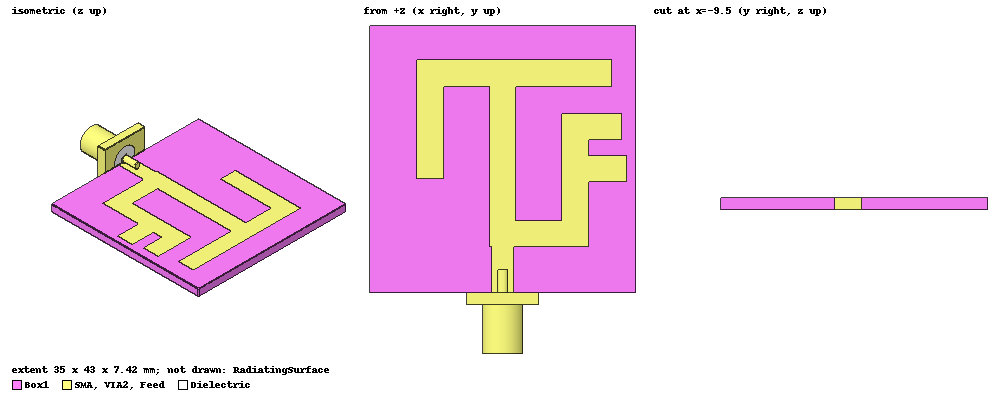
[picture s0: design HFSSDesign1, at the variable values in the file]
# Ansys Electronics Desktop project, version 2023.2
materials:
  vacuum: permittivity=1
  FR4_epoxy: permittivity=4.4 dielectric_loss_tangent=0.02
  Teflon (tm): permittivity=2.1 dielectric_loss_tangent=0.001
  brass: conductivity=15000000
  copper: permeability=0.999991 conductivity=58000000

design HFSSDesign1 (HFSS, HFSS Modal Network, model units mm)
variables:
  SubLen = 35mm
  SubHi = 1.6mm
  SubWidth = 35mm
  PIFA1_SL = 5mm
  FeedWidth = 3mm
  PIFA1_FL = 4.37mm
  FeedLen = 6mm
  PIFA1_OFF = 6mm
  PIFA1_LEN = 14mm
  PIFA1_width = 3.5mm
  PIFA2_SEP = 6mm
  PIFA2_SL = 12mm
  XX = 0mm
  PIFA2_RAD = 16mm
  PIFA2_Width = 3.5mm
  PIFA1_SEP = 2mm
  PIFA2_FL = 21mm
  ViaR1 = 0.5*PIFA1_width
  ViaR2 = 0.5*PIFA2_Width
  h = 1.6mm
  Inner_length = 3mm
  SRRinnerRad = 0.5mm
  StubLen = 5.8mm
  StubWidth = 15mm
  SRRpos = 3mm
  SRRslot = 0.5mm
  GndLen = 20mm
  SRRThick = 0.5mm
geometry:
  Box1 [FR4_epoxy] = box(corner=(-0.5*SubWidth, 0mm, 0mm), size=(SubWidth, SubLen, SubHi))
  Feed = rectangle(corner=(-0.5*FeedWidth, 0mm, SubHi), x_size=FeedWidth, y_size=FeedLen)
  IF1_F = rectangle(corner=(0.5*PIFA2_Width-XX+PIFA1_OFF+PIFA1_width, FeedLen+PIFA1_LEN, SubHi), x_size=PIFA1_FL, y_size=PIFA1_width)
  IFOFF1 = rectangle(corner=(0.5*PIFA2_width, FeedLen, SubHi), x_size=PIFA1_OFF+PIFA1_width, y_size=PIFA1_width)
  IFSL1 = rectangle(corner=(0.5*PIFA2_Width-XX+PIFA1_OFF+PIFA1_width, FeedLen+PIFA1_LEN-PIFA1_SEP-PIFA1_width, SubHi), x_size=PIFA1_SL, y_size=PIFA1_width)
  INFRad1 = rectangle(corner=(0.5*PIFA2_Width-XX+PIFA1_OFF, FeedLen+PIFA1_width, SubHi), x_size=PIFA1_width, y_size=PIFA1_LEN)
  IF1_F.unite(IFOFF1, IFSL1, INFRad1)
  IF2_Feed = rectangle(corner=(-0.5*PIFA2_Width, FeedLen, SubHi), x_size=PIFA2_Width, y_size=PIFA2_FL)
  IF2_Mat = rectangle(corner=(-0.5*PIFA2_Width-PIFA2_Width-PIFA2_SEP, FeedLen+PIFA2_FL, SubHi), x_size=PIFA2_SEP+PIFA2_Width, y_size=PIFA2_Width)
  IF2_Rad = rectangle(corner=(-0.5*PIFA2_Width, FeedLen+PIFA2_FL, SubHi), x_size=PIFA2_RAD, y_size=PIFA2_Width)
  IF2_Sho = rectangle(corner=(-0.5*PIFA2_Width-PIFA2_SEP-PIFA2_Width, FeedLen+PIFA2_FL-PIFA2_SL, SubHi), x_size=PIFA2_Width, y_size=PIFA2_SL)
  IF2_Feed.unite(IF2_Mat, IF2_Rad, IF2_Sho)
  Feed.unite(IF1_F, IF2_Feed)
  VIA1 [copper] = cylinder(axis=Z, base_centre=(0.5*FeedWidth-XX+PIFA1_OFF+PIFA1_width+PIFA1_SL-ViaR1, FeedLen+PIFA1_LEN-PIFA1_width-PIFA1_SEP+ViaR1, 0), radius=1.4142136mm, height=SubHi)
  VIA2 [copper] = cylinder(axis=Z, base_centre=(-PIFA2_Width-PIFA2_SEP, FeedLen+PIFA2_FL-PIFA2_SL+0.5*PIFA2_Width, 0mm), radius=ViaR2, height=SubHi)
  Dielectric [Teflon (tm)] = cylinder(axis=Y, base_centre=(0mm, 0mm, h+0.63mm), radius=2.43mm, height=-6mm)
  Dielectric_1 = Dielectric.copy()
  Inner = cylinder(axis=Y, base_centre=(0, Inner_length, h+0.63mm), radius=0.63mm, height=-6mm-Inner_length)
  Inner_1 = Inner.copy()
  Dielectric.subtract(Inner_1)
  Dielectric_2 = Dielectric.copy()
  SMA [brass] = box(corner=(-4.76mm, 0mm, -1.08mm), size=(9.52mm, -1.64mm, 7.42mm))
  Inner_2 = Inner.copy()
  SMA.subtract(Dielectric_2, Inner_2)
  Box3 = box(corner=(4.76mm, 0mm, -1.08mm), size=(-1.02mm, 5mm, 1.08mm))
  Box2 = box(corner=(-4.76mm, 0mm, -1.08mm), size=(1.02mm, 5mm, 1.08mm))
  SMA.unite(Box3, Box2)
  Outer = cylinder(axis=Y, base_centre=(0mm, 0mm, h+0.63mm), radius=2.61mm, height=-8mm)
  Outer.subtract(Dielectric_1)
  Outer1 = cylinder(axis=Y, base_centre=(0mm, 0mm, h+0.63mm), radius=2.43mm, height=-8mm)
  Dielectric1 = cylinder(axis=Y, base_centre=(0mm, 0mm, h+0.63mm), radius=2.43mm, height=-6mm)
  Dielectric_3 = Dielectric1.copy()
  Outer1.subtract(Dielectric_3)
  Outer.subtract(Outer1)
  SMA.unite(Outer, Inner)
  Dielectric1.delete()
  RadiatingSurface [vacuum] = region(absolute_offset=21.276596mm on all sides)
  SRRouter2 = circle(normal=Z, centre=(0mm, GndLen+SRRpos, 0mm), radius=SRRslot+SRRThick+SRRinnerRad+SRRThick)
  SRRinner2 = circle(normal=Z, centre=(0mm, GndLen+SRRpos, 0mm), radius=SRRslot+SRRThick+SRRinnerRad)
  SRRouter2.subtract(SRRinner2)
  SRRouter = circle(normal=Z, centre=(0mm, GndLen+SRRpos, 0mm), radius=SRRinnerRad+SRRThick)
  SRRinner = circle(normal=Z, centre=(0mm, GndLen+SRRpos, 0mm), radius=SRRinnerRad)
  SRRouter.subtract(SRRinner)
  SRRouter2.unite(SRRouter)
  Gnd = rectangle(corner=(-0.5*SubWidth, 0mm, 0mm), x_size=SubWidth, y_size=GndLen)
  SRRouter2.unite(Gnd)
  SRRouter3 = circle(normal=Z, centre=(0mm, GndLen+SRRpos, 0mm), radius=2*SRRslot+SRRThick+SRRinnerRad+2*SRRThick)
  SRRinner3 = circle(normal=Z, centre=(0mm, GndLen+SRRpos, 0mm), radius=2*SRRslot+SRRThick+SRRinnerRad+SRRThick)
  SRRouter3.subtract(SRRinner3)
  Rectangle2 = rectangle(corner=(-0.5*SubWidth, GndLen, 0mm), x_size=StubWidth, y_size=StubLen)
  SRRouter2.unite(SRRouter3, Rectangle2)
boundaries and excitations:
  FiniteCond2: Finite Conductivity Objects=Feed Conductivity=58000000 Permeability=1 IsInternal
  SMA: Finite Conductivity Objects=SMA Conductivity=15000000 Permeability=1 IsInternal
  Open1: Radiation Objects=RadiatingSurface
  FiniteCond3: Finite Conductivity Objects=SRRouter2 Conductivity=58000000 Permeability=1 IsInternal
  1: Lumped Port Faces=Dielectric.face(-y end) LumpedPortType=Modal Modes{Mode1{IntLine{(0, -6, -0.2) -> (0, -6, 1.6)} CharImp=Zpi RenormImp=50ohm}} Impedance=50ohm
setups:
  Setup1: HfssDriven Frequency=4.7GHz MaxDeltaS=0.02 MaximumPasses=10 MinimumPasses=1 MinimumConvergedPasses=1 PercentRefinement=30 BasisOrder=1 PortAccuracy=2 DrivenSolverType="Direct Solver"
    sweep Sweep: 2GHz to 8GHz step 0.01GHz; Type=Discrete SaveFields
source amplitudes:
  1:1: 1W 0deg
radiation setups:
  Infinite Sphere1: Infinite Sphere Theta=0deg..360deg step 2deg Phi=-180deg..180deg step 2deg
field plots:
  Mag_Jsurf1: Jsurf over Feed.face(at (2.5, 15.25, 1.6)) SRRouter2.face(all 3) on Setup1 : Sweep at Freq=5.8GHz Phase=0deg
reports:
  S Parameter Plot 1: dB(S(1,1)) vs Freq on Setup1 : Sweep; markers m1 at 2.4GHz, m2 at 3.68GHz, m3 at 4.71GHz, m4 at 5.8GHz, MY1 at y=-9.94737, MY2 at y=-6
  Antenna Params Plot 2: dB(PeakRealizedGain) vs Freq on Setup1 : Sweep; markers MX1 at x=2.406181e+09, MX2 at x=3.7041943e+09, MX3 at x=4.7019868e+09, MX4 at x=5.8013245e+09
  VSWR Plot 1: VSWR(1) vs Freq on Setup1 : Sweep; markers m1 at 2.39GHz, m2 at 3.68GHz, m3 at 4.71GHz, m4 at 5.8GHz
  Z Parameter Plot 1: re(Z(1,1)), im(Z(1,1)) vs Freq on Setup1 : Sweep; markers MX1 at x=2.4005935e+09, MX2 at x=3.7002967e+09, MX3 at x=4.7106825e+09, MX4 at x=5.8011869e+09
  Gain Plot 1: dB(GainTotal) vs Theta on Setup1 : Sweep, Infinite Sphere1 [Phi=0deg,90deg Freq=2.4GHz]
  Gain Plot 2: dB(GainTotal) vs Theta on Setup1 : Sweep, Infinite Sphere1 [Phi=0deg,90deg Freq=3.7GHz]
  Gain Plot 3: dB(GainTotal) vs Theta on Setup1 : Sweep, Infinite Sphere1 [Phi=0deg,90deg Freq=4.7GHz]
  Gain Plot 4: dB(GainTotal) vs Theta on Setup1 : Sweep, Infinite Sphere1 [Phi=0deg,90deg Freq=5.8GHz]
  Realized Gain Plot 1: dB(RealizedGainTotal) vs Theta on Setup1 : LastAdaptive, Infinite Sphere1 [Phi=all Freq=4.7GHz]
  Realized Gain Plot 2: dB(RealizedGainTotal) vs Theta on Setup1 : Sweep, Infinite Sphere1 [Phi=0deg,90deg Freq=4.7GHz]
  Gain Plot 5: GainTotal vs Theta on Setup1 : Sweep, Infinite Sphere1 [Phi=0deg,90deg Freq=4.7GHz]
  Realized Gain Plot 3: RealizedGainTotal vs Theta on Setup1 : Sweep, Infinite Sphere1 [Phi=0deg,90deg Freq=4.7GHz]
  Gain Plot 6: dB(GainTotal) vs Theta on Setup1 : Sweep, Infinite Sphere1 [Phi=0deg,90deg Freq=5.8GHz]
  Gain Plot 7: dB(GainTotal) vs Theta on Setup1 : Sweep, Infinite Sphere1 [Phi=0deg,90deg Freq=4.71GHz]
  Gain Plot 8: dB(GainTotal) vs Theta on Setup1 : Sweep, Infinite Sphere1 [Phi=0deg,90deg Freq=3.68GHz]
  Gain Plot 9: dB(GainTotal) vs Theta on Setup1 : Sweep, Infinite Sphere1 [Phi=0deg,90deg Freq=2.4GHz]
  Gain Plot 10: abs(GainTotal) vs Theta on Setup1 : Sweep, Infinite Sphere1 [Phi=0deg,90deg Freq=5.8GHz]
  Gain Plot 11: normalize(GainTotal) vs Theta on Setup1 : Sweep, Infinite Sphere1 [Phi=0deg,90deg Freq=5.8GHz]
  Plot 1: dB(normalize(GainTotal)) vs Theta on Setup1 : Sweep, Infinite Sphere1 [Phi=0deg,90deg Freq=5.8GHz]
  Plot 1: dB(normalize(GainTotal)) vs Theta on Setup1 : Sweep, Infinite Sphere1 [Phi=0deg,90deg Freq=4.71GHz]
  Plot 1: dB(normalize(GainTotal)) vs Theta on Setup1 : Sweep, Infinite Sphere1 [Phi=0deg,90deg Freq=3.86GHz]
  Plot 1: dB(normalize(GainTotal)) vs Theta on Setup1 : Sweep, Infinite Sphere1 [Phi=0deg,90deg Freq=3.68GHz]
  Plot 1: dB(normalize(GainTotal)) vs Theta on Setup1 : Sweep, Infinite Sphere1 [Phi=0deg,90deg Freq=2.4GHz]
  Gain Plot 12: dB(GainTotal) vs Phi, Theta on Setup1 : Sweep, Infinite Sphere1 [Freq=5.8GHz]
  Directivity Plot 1: dB(DirTotal) vs Phi, Theta on Setup1 : Sweep, Infinite Sphere1 [Freq=5.8GHz]
  Directivity Plot 2: dB(DirTotal) vs Phi, Theta on Setup1 : Sweep, Infinite Sphere1 [Freq=3.68GHz]
  Directivity Plot 3: dB(DirTotal) vs Phi, Theta on Setup1 : Sweep, Infinite Sphere1 [Freq=5.8GHz]
  Directivity Plot 4: dB(DirTotal) vs Phi, Theta on Setup1 : Sweep, Infinite Sphere1 [Freq=4.71GHz]
  Directivity Plot 5: dB(DirTotal) vs Phi, Theta on Setup1 : Sweep, Infinite Sphere1 [Freq=2.4GHz]
  Axial Ratio Plot 1: mag(AxialRatioValue) vs Theta on Setup1 : LastAdaptive, Infinite Sphere1 [Phi=all Freq=4.7GHz]
  Axial Ratio Plot 2: mag(AxialRatioValue) vs Freq on Setup1 : Sweep, Infinite Sphere1 [Phi=0deg Theta=0deg]
  Plot 1: dB(mag(AxialRatioValue)) vs Freq on Setup1 : Sweep, Infinite Sphere1 [Phi=0deg Theta=0deg]; markers MX1 at x=2.3997104e+09, MX2 at x=3.6813903e+09, MX3 at x=4.7067343e+09, MX4 at x=5.7972484e+09
  Antenna Params Plot 3: RadiationEfficiency vs Freq on Setup1 : LastAdaptive
  Antenna Params Plot 4: RadiationEfficiency vs Freq on Setup1 : Sweep; markers MX1 at x=2.3997039e+09, MX2 at x=3.6831976e+09, MX3 at x=4.7135455e+09, MX4 at x=5.7971873e+09
